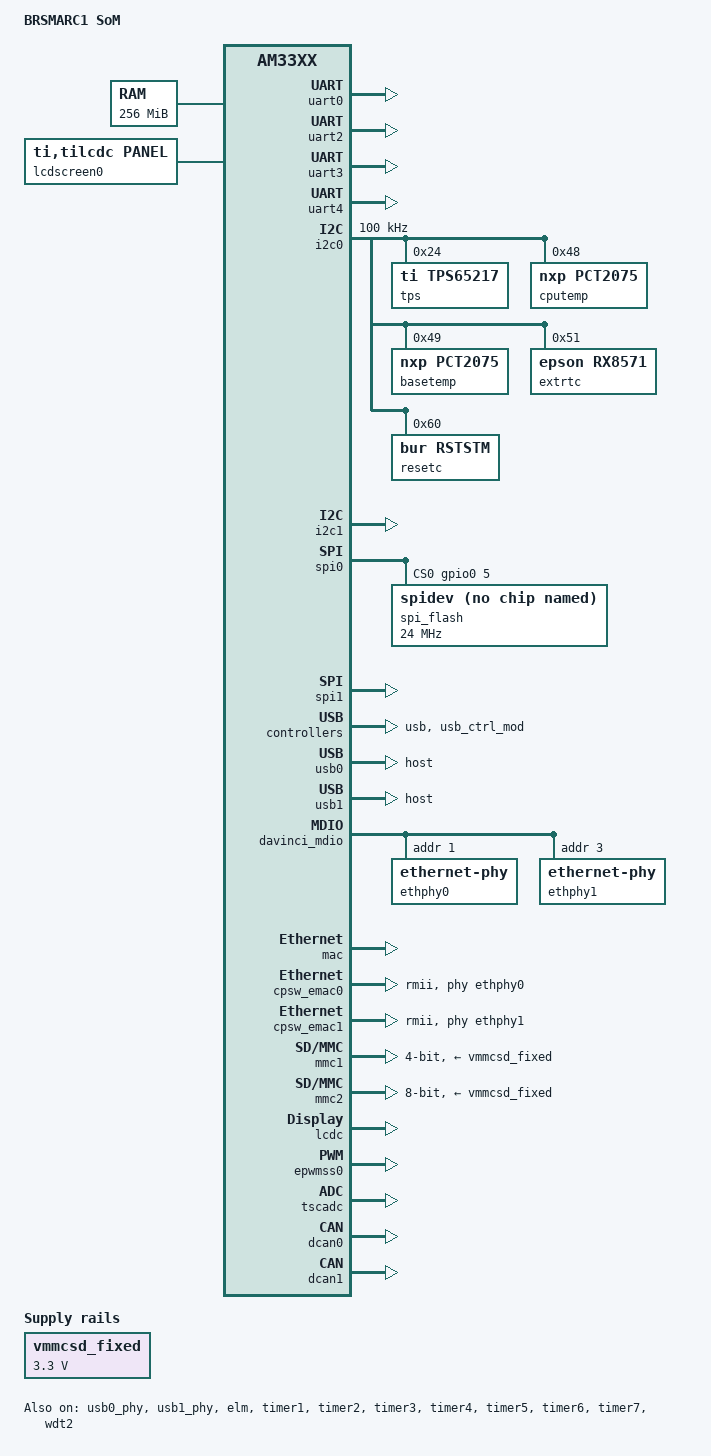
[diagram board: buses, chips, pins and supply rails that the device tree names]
// SPDX-License-Identifier: GPL-2.0+
/*
 * Copyright (C) 2017 B&R Industrial Automation GmbH
 * http://www.br-automation.com
 *
 */
/dts-v1/;

#include "am33xx.dtsi"
#include "dt-bindings/thermal/thermal.h"

/ {
	model = "BRSMARC1 SoM";
	compatible = "ti,am33xx";

	fset: factory-settings {
		bl-version	= "                                ";
		order-no	= "                                ";
		cpu-order-no	= "                                ";
		hw-revision	= "                                ";
		serial-no	= <0>;
		device-id	= <0x0>;
		parent-id	= <0x0>;
		hw-variant	= <0x0>;
		hw-platform	= <0x7>;
		fram-offset	= <0x100>;
		fram-size	= <0x1F00>;
		cache-disable	= <0x0>;
		cpu-clock	= <0x0>;
	};

	chosen {
		bootargs = "console=ttyO0,115200 earlyprintk";
		stdout-path = &uart0;
	};

	aliases {
		fset = &fset;
		mmc = &mmc2;
		spi0 = &spi0;
		spi1 = &spi1;
		touch0 = &burtouch0;
		screen0 = &lcdscreen0;
	};

	memory {
		device_type = "memory";
		reg = <0x80000000 0x10000000>; /* 256 MB */
	};

	vmmcsd_fixed: fixedregulator@0 {
		compatible = "regulator-fixed";
		regulator-name = "vmmcsd_fixed";
		regulator-min-microvolt = <3300000>;
		regulator-max-microvolt = <3300000>;
	};

	lcdscreen0: lcdscreen@0 {
		/*backlight = <&tps_bl>; */
		compatible = "ti,tilcdc,panel";
		status = "okay";

		panel-info {
			ac-bias		= <255>;
			ac-bias-intrpt	= <0>;
			dma-burst-sz	= <16>;
			bpp		= <32>;
			fdd		= <0x80>;
			sync-edge	= <0>;
			sync-ctrl	= <1>;
			raster-order	= <0>;
			fifo-th		= <0>;
			rotation	= <0>;
			pupdelay	= <0>;
			pondelay	= <0>;
			pwrpin		= <0x000000B1>;
			brightdrv	= <0>;
			brightfdim	= <100>;
			brightdef	= <50>;
		};

		display-timings {
			default {
				clock-frequency	= <0>;
				hactive		= <0>;
				vactive		= <0>;
				hfront-porch	= <0>;
				hback-porch	= <0>;
				hsync-len	= <0>;
				vfront-porch	= <0>;
				vback-porch	= <0>;
				vsync-len	= <0>;
				hsync-active	= <0>;
				vsync-active	= <0>;
				pupdelay	= <10>;
				pondelay	= <10>;
			};
		};
	};

	board_thermal: board-thermal {
		polling-delay-passive = <1000>; /* milliseconds */
		polling-delay = <2500>; /* milliseconds */

		thermal-sensors = <&cputemp>;

		trips {
			crit_trip: crit-trip {
				temperature = <95000>; /* millicelsius */
				hysteresis = <5000>; /* millicelsius */
				type = "critical";
			};
		};
		cooling-maps {
			map0 {
				trip = <&crit_trip>;
				cooling-device =
				<&resetc THERMAL_NO_LIMIT THERMAL_NO_LIMIT>;
			};
		};
	};
};

&uart0 {		/* console uart */
	bootph-pre-ram;
	status = "okay";
};

&uart2 {		/* X2X - P2P */
	status = "okay";
};

&uart3 {		/* RS485 */
	status = "okay";
};

&uart4 {		/* RS232 */
	status = "okay";
};

&i2c0 {
	bootph-pre-ram;
	status = "okay";
	clock-frequency = <100000>;

	tps: tps@24 {		/* PMIC controller */
		bootph-pre-ram;
		reg = <0x24>;
		compatible = "ti,tps65217";
	};

	cputemp: temperature-sensor@48 {	/* cpu temperature */
		#thermal-sensor-cells = <0>;
		compatible = "nxp,pct2075";
		reg = <0x48>;
	};

	basetemp: temperature-sensor@49 {	/* baseboard temperature */
		#thermal-sensor-cells = <0>;
		compatible = "nxp,pct2075";
		reg = <0x49>;
	};
	extrtc: rtc@51 {	/* realtime clock */
		compatible = "epson,rx8571";
		reg = <0x51>;
	};

	resetc: reset-controller@60 {
		compatible = "bur,rststm";
		reg = <0x60>;

		cooling-min-state = <0>;
		cooling-max-state = <1>;	/* reset gets fired */
		#cooling-cells = <2>;		/* min followed by max */
	};
};

&i2c1 {
	bootph-pre-ram;
	status = "okay";
};

&spi0 {
	bootph-pre-ram;
	status = "okay";

	cs-gpios = <&gpio0 5 GPIO_ACTIVE_HIGH>,
		   <&gpio0 6 GPIO_ACTIVE_HIGH>,
		   <0>,
		   <0>;

	spi-max-frequency = <24000000>;

	spi_flash: spiflash@0 {
		bootph-pre-ram;
		bootph-all;
		compatible = "spidev", "spi-flash";
		spi-max-frequency = <24000000>;
		reg = <0>;
	};
};

&spi1 {
	bootph-pre-ram;
	status = "okay";
	cs-gpios = <&gpio3 17 GPIO_ACTIVE_HIGH>,
		   <&gpio0 19 GPIO_ACTIVE_HIGH>,
		   <0>,
		   <0>;

	spi-max-frequency = <24000000>;
};

&edma {
	status = "okay";
};

&cppi41dma  {
	status = "okay";
};

&usb {
	status = "okay";
};

&usb_ctrl_mod {
	status = "okay";
};

&usb0_phy {
	status = "okay";
};

&usb1_phy {
	status = "okay";
};

&usb0 {
	status = "okay";
	dr_mode = "host";
};

&usb1 {
	status = "okay";
	dr_mode = "host";
};

&davinci_mdio {
	status = "okay";

	ethphy0: ethernet-phy@1 {
		reg = <1>;
	};

	ethphy1: ethernet-phy@3 {
		reg = <3>;
	};
};

&mac {
	status = "okay";
};

&phy_sel {
	rmii-clock-ext;
};

&cpsw_emac0 {
	phy_id = <&davinci_mdio>, <1>;
	phy-handle = <&ethphy0>;
	phy-mode = "rmii";
	ti,ledcr = <0x0480>;
};

&cpsw_emac1 {
	phy_id = <&davinci_mdio>, <3>;
	phy-handle = <&ethphy1>;
	phy-mode = "rmii";
	ti,ledcr = <0x0480>;
};

&mmc1 {
	vmmc-supply = <&vmmcsd_fixed>;
	bus-width = <0x4>;
	ti,non-removable;
	ti,needs-special-hs-handling;
	ti,vcc-aux-disable-is-sleep;
	status = "okay";
};

&mmc2 {
	vmmc-supply = <&vmmcsd_fixed>;
	bus-width = <0x8>;
	ti,non-removable;
	ti,needs-special-hs-handling;
	ti,vcc-aux-disable-is-sleep;
	status = "okay";
};

&l4_per {

	segment@300000 {

		target-module@e000 {
			bootph-all;

			lcdc: lcdc@0 {
				bootph-all;
				status = "okay";
				ti,no-reset-on-init;
				ti,no-idle-on-init;
			};
		};
	};
};

&elm {
	status = "okay";
};

&sham {
	status = "okay";
};

&aes {
	status = "okay";
};

&gpio0 {
	bootph-pre-ram;
	ti,no-reset-on-init;
};

&gpio1 {
	bootph-pre-ram;
	ti,no-reset-on-init;
};

&gpio2 {
	bootph-pre-ram;
	ti,no-reset-on-init;
};

&gpio3 {
	bootph-pre-ram;
	ti,no-reset-on-init;
};

&timer1 {		/* today unused */
	status = "okay";
	ti,no-reset-on-init;
	ti,no-idle-on-init;
};

&timer2 {		/* used for vxworks primary timer device */
	status = "okay";
	ti,no-reset-on-init;
	ti,no-idle-on-init;
};

&timer3 {		/* used sysdelay and hal tsc counter*/
	status = "okay";
	ti,no-reset-on-init;
	ti,no-idle-on-init;
};

&timer4 {		/* used for PWM beeper */
	status = "okay";
	ti,no-reset-on-init;
	ti,no-idle-on-init;
};

&timer5 {		/* used for PWM backlight */
	status = "okay";
	ti,no-reset-on-init;
	ti,no-idle-on-init;
};

&timer6 {		/* used for cpsw end device */
	status = "okay";
	ti,no-reset-on-init;
	ti,no-idle-on-init;
};

&timer7 {		/* used for cpsw end device */
	status = "okay";
	ti,no-reset-on-init;
	ti,no-idle-on-init;
};

&wdt2 {
	status = "okay";
	ti,no-reset-on-init;
	ti,no-idle-on-init;
};

&epwmss0 {
	status = "okay";
};

&tscadc {
	status = "okay";

	tsc {
		burtouch0: burtouch@0 {
			status = "okay";
			compatible = "bur,DdVxSfTouchXXX";
			bur,hwtree = "IF7";
			bur,KX0 = <0x0>;
			bur,KX1 = <0x0>;
			bur,KX2 = <0x0>;
			bur,KY0 = <0x0>;
			bur,KY1 = <0x0>;
			bur,KY2 = <0x0>;
		};
	};
};

&dcan0 {
	status = "okay";
};

&dcan1 {
	status = "okay";
};

&sham {
	status = "disabled";
};

&aes {
	status = "disabled";
};

&rng {
	status = "disabled";
};
